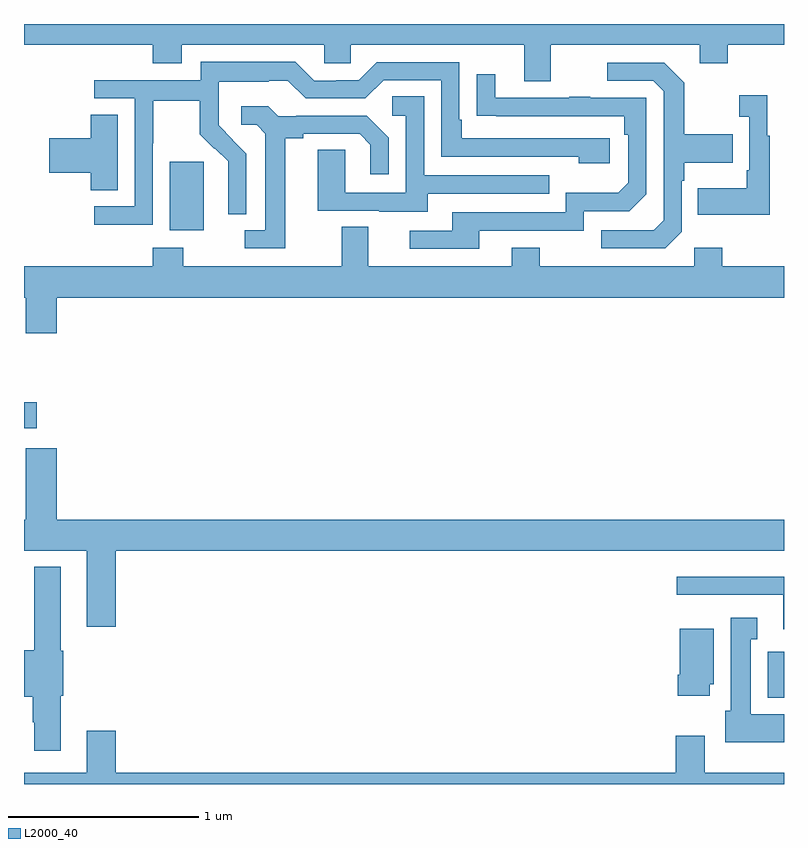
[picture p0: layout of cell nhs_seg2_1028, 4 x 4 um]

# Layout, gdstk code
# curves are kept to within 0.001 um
import gdstk
lib = gdstk.Library(unit=1e-6, precision=1e-09)
def R(c, l, rs):  # rectangles x0, y0, x1, y1
    for r in rs: c.add(gdstk.rectangle(r[:2], r[2:], *l))
def P(c, l, *ps):  # polygons
    for p in ps: c.add(gdstk.Polygon(p, *l))
L2000_40 = (2000, 40)

nhs_seg2_1028 = lib.new_cell('nhs_seg2_1028')
R(nhs_seg2_1028, L2000_40, [(168.914,588.254,169,588.496), (165,589.673,165.067,589.808), (165.767,590.714,165.946,591.075)])
P(nhs_seg2_1028, L2000_40, [(165,591.692),(165.677,591.692),(165.677,591.593),(165.829,591.593),(165.829,591.692),(166.581,591.692),(166.581,591.594),(166.719,591.594),(166.719,591.692),(167.633,591.692),(167.633,591.498),(167.773,591.498),(167.773,591.692),(168.557,591.692),(168.557,591.593),(168.705,591.593),(168.705,591.692),(169,591.692),(169,591.8),(165,591.8)],
  [(165.678,591.172),(165.681,591.172),(165.681,591.396),(165.925,591.396),(165.925,591.221),(166.002,591.144),(166.005,591.147),(166.076,591.077),(166.076,590.954),(166.074,590.954),(166.074,590.8),(166.17,590.8),(166.17,591.118),(166.024,591.266),(166.024,591.363),(166.026,591.363),(166.026,591.497),(166.289,591.497),(166.289,591.501),(166.389,591.501),(166.482,591.408),(166.797,591.408),(166.893,591.504),(167.196,591.504),(167.196,591.102),(167.921,591.102),(167.921,591.068),(168.082,591.068),(168.082,591.198),(167.305,591.198),(167.305,591.295),(167.292,591.295),(167.292,591.6),(166.857,591.6),(166.761,591.504),(166.643,591.504),(166.643,591.501),(166.527,591.501),(166.427,591.601),(165.93,591.601),(165.93,591.504),(165.369,591.504),(165.369,591.408),(165.582,591.408),(165.582,590.841),(165.369,590.841),(165.369,590.743),(165.678,590.743)],
  [(168.462,590.706),(168.462,590.975),(168.475,590.975),(168.475,591.071),(168.731,591.071),(168.731,591.219),(168.475,591.219),(168.475,591.491),(168.369,591.597),(168.069,591.597),(168.069,591.501),(168.312,591.501),(168.366,591.447),(168.366,590.766),(168.315,590.715),(168.039,590.715),(168.039,590.619),(168.375,590.619)],
  [(167.395,590.712),(167.946,590.712),(167.946,590.814),(168.186,590.814),(168.276,590.904),(168.276,591.411),(167.981,591.411),(167.981,591.416),(167.869,591.416),(167.869,591.411),(167.479,591.411),(167.479,591.535),(167.383,591.535),(167.383,591.316),(168.16,591.315),(168.16,591.218),(168.18,591.218),(168.18,590.964),(168.127,590.911),(167.85,590.911),(167.85,590.808),(167.255,590.808),(167.255,590.712),(167.031,590.712),(167.031,590.616),(167.395,590.616)],
  [(168.925,591.211),(168.913,591.211),(168.913,591.424),(168.765,591.424),(168.765,591.311),(168.816,591.311),(168.816,591.031),(168.804,591.031),(168.804,590.935),(168.547,590.935),(168.547,590.795),(168.925,590.795)],
  [(167.125,590.907),(167.765,590.907),(167.765,591.003),(167.106,591.003),(167.106,591.419),(166.938,591.419),(166.938,591.318),(167.01,591.318),(167.01,590.913),(166.692,590.913),(166.692,591.137),(166.547,591.137),(166.547,590.817),(166.871,590.817),(166.871,590.813),(167.125,590.813)],
  [(166.375,591.2),(166.471,591.2),(166.471,591.222),(166.766,591.222),(166.823,591.165),(166.823,591.009),(166.92,591.009),(166.92,591.202),(166.804,591.318),(166.432,591.318),(166.432,591.315),(166.338,591.315),(166.286,591.367),(166.143,591.367),(166.143,591.27),(166.224,591.27),(166.271,591.223),(166.271,590.715),(166.161,590.715),(166.161,590.619),(166.375,590.619)],
  [(165.493,591.323),(165.35,591.323),(165.35,591.2),(165.132,591.2),(165.132,591.017),(165.35,591.017),(165.35,590.926),(165.493,590.926)],
  [(165.172,590.36),(169,590.36),(169,590.524),(168.675,590.524),(168.675,590.623),(168.528,590.623),(168.528,590.524),(167.715,590.524),(167.715,590.623),(167.567,590.623),(167.567,590.524),(166.813,590.524),(166.813,590.732),(166.673,590.732),(166.673,590.524),(165.837,590.524),(165.837,590.623),(165.677,590.623),(165.677,590.524),(165,590.524),(165,590.36),(165.008,590.36),(165.008,590.172),(165.172,590.172)],
  [(165.482,589.028),(169,589.028),(169,589.192),(165.172,589.192),(165.172,589.567),(165.008,589.567),(165.008,589.192),(165,589.192),(165,589.028),(165.329,589.028),(165.329,588.627),(165.482,588.627)],
  [(165.193,588.264),(165.206,588.264),(165.206,588.501),(165.193,588.501),(165.193,588.943),(165.053,588.943),(165.053,588.505),(165,588.505),(165,588.26),(165.046,588.26),(165.046,588.126),(165.053,588.126),(165.053,587.976),(165.193,587.976)],
  [(169,588.892),(168.435,588.892),(168.435,588.795),(168.995,588.795),(168.995,588.614),(169,588.614)],
  [(169,588.166),(168.826,588.166),(168.826,588.563),(168.859,588.563),(168.859,588.676),(168.719,588.676),(168.719,588.186),(168.692,588.186),(168.692,588.02),(169,588.02)],
  [(168.61,588.324),(168.631,588.324),(168.631,588.616),(168.452,588.616),(168.452,588.376),(168.44,588.376),(168.44,588.264),(168.61,588.264)],
  [(169,587.86),(168.583,587.86),(168.583,588.055),(168.431,588.055),(168.431,587.86),(165.482,587.86),(165.482,588.079),(165.329,588.079),(165.329,587.86),(165,587.86),(165,587.8),(169,587.8)])

lib.write_gds('nhs_seg2_1028.gds')
